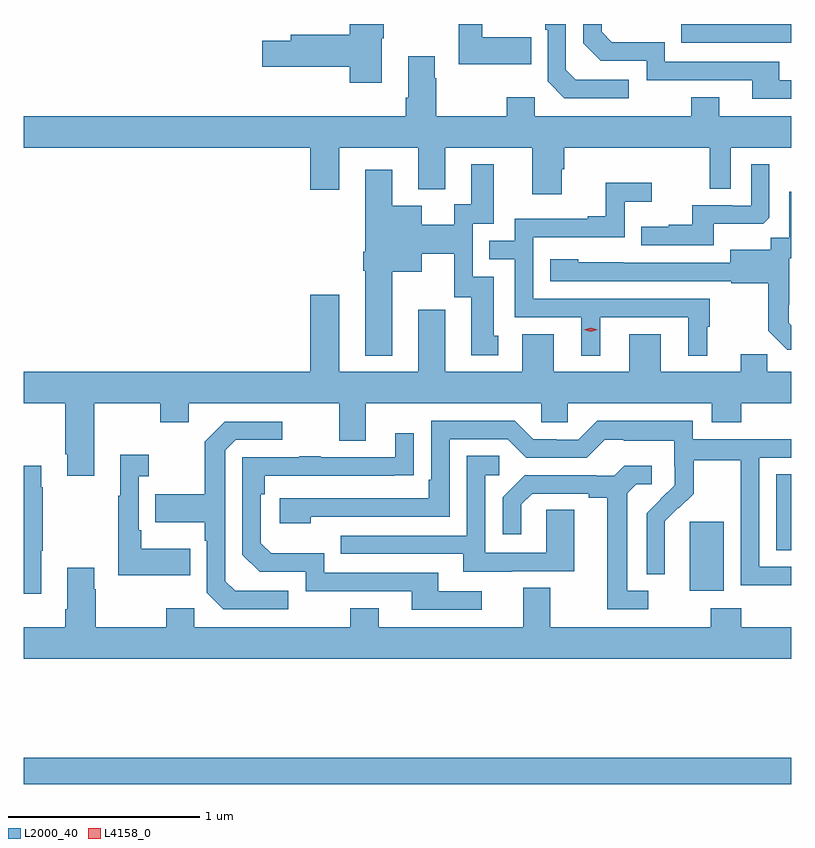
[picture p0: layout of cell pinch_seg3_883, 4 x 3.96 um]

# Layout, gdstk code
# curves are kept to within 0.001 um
import gdstk
lib = gdstk.Library(unit=1e-6, precision=1e-09)
def R(c, l, rs):  # rectangles x0, y0, x1, y1
    for r in rs: c.add(gdstk.rectangle(r[:2], r[2:], *l))
def P(c, l, *ps):  # polygons
    for p in ps: c.add(gdstk.Polygon(p, *l))
L2000_40 = (2000, 40)
L4158_0 = (4158, 0)

pinch_seg3_883 = lib.new_cell('pinch_seg3_883')
R(pinch_seg3_883, L2000_40, [(814.11,688.276,818.11,688.412), (817.58,689.282,817.759,689.643), (818.033,689.494,818.11,689.891), (817.537,692.139,818.11,692.235)])
P(pinch_seg3_883, L2000_40, [(815.977,692.163),(815.985,692.163),(815.985,692.237),(815.81,692.237),(815.81,692.18),(815.501,692.18),(815.501,692.15),(815.352,692.15),(815.352,692.015),(815.81,692.015),(815.81,691.932),(815.977,691.932)],
  [(818.11,691.944),(818.047,691.944),(818.047,692.04),(817.452,692.04),(817.452,692.143),(817.175,692.143),(817.122,692.196),(817.122,692.237),(817.026,692.237),(817.026,692.136),(817.116,692.046),(817.356,692.046),(817.356,691.944),(817.907,691.944),(817.907,691.848),(818.11,691.848)],
  [(816.755,692.167),(816.499,692.167),(816.499,692.237),(816.378,692.237),(816.378,692.027),(816.755,692.027)],
  [(817.264,691.947),(816.987,691.947),(816.936,691.998),(816.936,692.237),(816.828,692.237),(816.828,692.207),(816.84,692.207),(816.84,691.938),(816.927,691.851),(817.264,691.851)],
  [(816.913,691.479),(816.926,691.479),(816.926,691.592),(817.686,691.592),(817.686,691.378),(817.794,691.378),(817.794,691.592),(818.11,691.592),(818.11,691.756),(817.735,691.756),(817.735,691.855),(817.588,691.855),(817.588,691.756),(816.774,691.756),(816.774,691.855),(816.628,691.855),(816.628,691.756),(816.261,691.756),(816.261,691.955),(816.253,691.955),(816.253,692.068),(816.113,692.068),(816.113,691.852),(816.101,691.852),(816.101,691.756),(814.11,691.756),(814.11,691.592),(815.603,691.592),(815.603,691.374),(815.755,691.374),(815.755,691.592),(816.167,691.592),(816.167,691.376),(816.307,691.376),(816.307,691.592),(816.761,691.592),(816.761,691.35),(816.913,691.35)],
  [(817.705,691.196),(817.963,691.196),(817.995,691.227),(817.995,691.507),(817.902,691.507),(817.902,691.29),(817.802,691.29),(817.802,691.293),(817.595,691.293),(817.595,691.192),(817.471,691.192),(817.471,691.18),(817.327,691.18),(817.327,691.083),(817.705,691.083)],
  [(816.031,690.947),(816.184,690.947),(816.184,691.04),(816.354,691.04),(816.354,690.813),(816.443,690.813),(816.443,690.51),(816.583,690.51),(816.583,690.612),(816.559,690.612),(816.559,690.921),(816.45,690.921),(816.45,691.197),(816.559,691.197),(816.559,691.507),(816.443,691.507),(816.443,691.298),(816.353,691.298),(816.353,691.192),(816.184,691.192),(816.184,691.291),(816.031,691.291),(816.031,691.477),(815.891,691.477),(815.891,691.051),(815.879,691.051),(815.879,690.951),(815.891,690.951),(815.891,690.509),(816.031,690.509)],
  [(817.114,690.708),(817.574,690.708),(817.574,690.509),(817.672,690.509),(817.672,690.66),(817.684,690.66),(817.684,690.804),(816.765,690.804),(816.765,691.125),(817.242,691.125),(817.242,691.31),(817.384,691.31),(817.384,691.409),(817.144,691.409),(817.144,691.234),(817.049,691.234),(817.049,691.221),(816.669,691.221),(816.669,691.107),(816.535,691.107),(816.535,691.011),(816.669,691.011),(816.669,690.708),(817.016,690.708),(817.016,690.509),(817.114,690.509)],
  [(818.11,690.668),(818.098,690.68),(818.098,690.775),(818.1,690.775),(818.1,691.016),(818.11,691.016),(818.11,691.363),(818.099,691.363),(818.099,691.124),(818.004,691.124),(818.004,691.06),(817.793,691.06),(817.793,690.993),(816.999,690.994),(816.999,691.012),(816.855,691.012),(816.855,690.897),(817.797,690.897),(817.797,690.885),(817.989,690.885),(817.989,690.639),(818.089,690.539),(818.11,690.539)],
  [(814.477,690.26),(814.822,690.26),(814.822,690.161),(814.969,690.161),(814.969,690.26),(815.753,690.26),(815.753,690.066),(815.893,690.066),(815.893,690.26),(816.807,690.26),(816.807,690.162),(816.945,690.162),(816.945,690.26),(817.697,690.26),(817.697,690.161),(817.85,690.161),(817.85,690.26),(818.11,690.26),(818.11,690.424),(817.985,690.424),(817.985,690.515),(817.847,690.515),(817.847,690.424),(817.429,690.424),(817.429,690.619),(817.265,690.619),(817.265,690.424),(816.871,690.424),(816.871,690.619),(816.707,690.619),(816.707,690.424),(816.307,690.424),(816.307,690.748),(816.167,690.748),(816.167,690.424),(815.755,690.424),(815.755,690.826),(815.603,690.826),(815.603,690.424),(814.11,690.424),(814.11,690.26),(814.325,690.26),(814.325,689.995),(814.337,689.995),(814.337,689.883),(814.477,689.883)],
  [(818.11,689.409),(817.944,689.409),(817.944,689.976),(818.11,689.976),(818.11,690.072),(817.596,690.072),(817.596,690.169),(817.099,690.169),(816.999,690.069),(816.884,690.069),(816.884,690.072),(816.765,690.072),(816.669,690.168),(816.234,690.168),(816.234,689.863),(816.221,689.863),(816.221,689.766),(815.445,689.766),(815.445,689.636),(815.606,689.636),(815.606,689.67),(816.33,689.67),(816.33,690.072),(816.633,690.072),(816.729,689.976),(817.044,689.976),(817.137,690.069),(817.237,690.069),(817.237,690.065),(817.5,690.065),(817.5,689.931),(817.502,689.931),(817.502,689.834),(817.356,689.686),(817.356,689.368),(817.452,689.368),(817.451,689.645),(817.521,689.715),(817.524,689.712),(817.601,689.789),(817.601,689.964),(817.846,689.964),(817.846,689.74),(817.848,689.74),(817.848,689.311),(818.11,689.311)],
  [(815.488,689.283),(815.211,689.283),(815.16,689.334),(815.16,690.015),(815.214,690.069),(815.458,690.069),(815.458,690.165),(815.157,690.165),(815.052,690.059),(815.052,689.787),(814.795,689.787),(814.795,689.639),(815.052,689.639),(815.052,689.543),(815.064,689.543),(815.064,689.274),(815.151,689.187),(815.488,689.187)],
  [(816.496,689.28),(816.271,689.28),(816.271,689.376),(815.676,689.376),(815.676,689.479),(815.399,689.479),(815.346,689.532),(815.346,689.786),(815.366,689.786),(815.366,689.883),(816.143,689.884),(816.143,690.103),(816.047,690.103),(816.047,689.979),(815.657,689.979),(815.657,689.984),(815.545,689.984),(815.545,689.979),(815.25,689.979),(815.25,689.472),(815.34,689.382),(815.58,689.382),(815.58,689.28),(816.131,689.28),(816.131,689.184),(816.496,689.184)],
  [(814.979,689.503),(814.723,689.503),(814.723,689.599),(814.71,689.599),(814.71,689.879),(814.762,689.879),(814.762,689.992),(814.613,689.992),(814.613,689.779),(814.602,689.779),(814.602,689.363),(814.979,689.363)],
  [(816.655,689.385),(816.979,689.385),(816.979,689.705),(816.834,689.705),(816.834,689.481),(816.516,689.481),(816.516,689.886),(816.589,689.886),(816.589,689.987),(816.42,689.987),(816.42,689.571),(815.761,689.571),(815.761,689.475),(816.401,689.475),(816.401,689.381),(816.655,689.381)],
  [(817.366,689.283),(817.255,689.283),(817.255,689.791),(817.302,689.838),(817.384,689.838),(817.384,689.935),(817.24,689.935),(817.188,689.883),(817.094,689.883),(817.094,689.886),(816.722,689.886),(816.606,689.77),(816.606,689.577),(816.703,689.577),(816.703,689.733),(816.76,689.79),(817.055,689.79),(817.055,689.768),(817.151,689.768),(817.151,689.187),(817.366,689.187)],
  [(814.201,689.491),(814.209,689.491),(814.209,689.822),(814.201,689.822),(814.201,689.935),(814.11,689.935),(814.11,689.268),(814.201,689.268)],
  [(818.11,689.092),(817.85,689.092),(817.85,689.191),(817.69,689.191),(817.69,689.092),(816.853,689.092),(816.853,689.3),(816.713,689.3),(816.713,689.092),(815.959,689.092),(815.959,689.191),(815.812,689.191),(815.812,689.092),(814.998,689.092),(814.998,689.191),(814.852,689.191),(814.852,689.092),(814.485,689.092),(814.485,689.291),(814.477,689.291),(814.477,689.404),(814.337,689.404),(814.337,689.188),(814.325,689.188),(814.325,689.092),(814.11,689.092),(814.11,688.928),(818.11,688.928)])
P(pinch_seg3_883, L4158_0, [(817.065,690.634),(817.029,690.644),(817.029,690.644),(817.029,690.644),(817.065,690.654),(817.101,690.644),(817.101,690.644),(817.101,690.644)])

lib.write_gds('pinch_seg3_883.gds')
